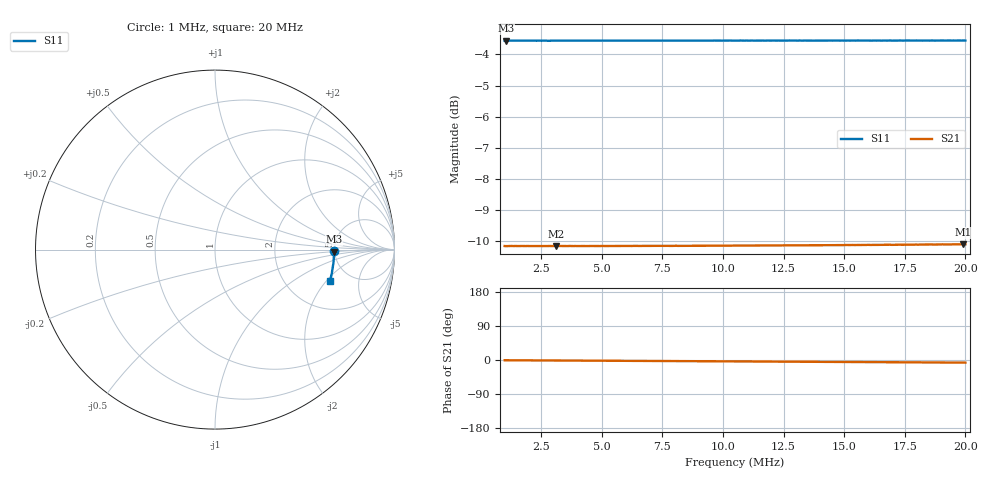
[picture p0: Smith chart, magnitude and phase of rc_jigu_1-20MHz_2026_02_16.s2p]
# HZ S RI R 50
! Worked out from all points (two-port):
!   401 points, 1 MHz to 20 MHz, reference 50 ohm
!   highest |S21| = -10.09 dB at 19.91 MHz (marker M1); lowest = -10.2 dB at 3.138 MHz (marker M2)
!   |S21| within 3 dB of the highest: start of sweep to end of sweep
!   lowest |S11| = -3.6 dB at 1.048 MHz (marker M3), VSWR 4.94, Z = 247 - j9.34 ohm
!   |S11| at or under -10 dB: nowhere
!   S12 and S22 are empty: the file has one direction only
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1000000  0.6636 -0.0103  0.3108 -0.00352  0 0  0 0
1047500  0.6634 -0.0106  0.3106 -0.00359  0 0  0 0
1095000  0.6636 -0.011  0.3107 -0.00363  0 0  0 0
1332500  0.6636 -0.0132  0.3107 -0.00396  0 0  0 0
1760000  0.6635 -0.017  0.3107 -0.00461  0 0  0 0
3137500  0.6631 -0.0292  0.3106 -0.00689  0 0  0 0
3422500  0.6629 -0.0315  0.3107 -0.00727  0 0  0 0
4182500  0.6628 -0.0383  0.3107 -0.00868  0 0  0 0
5607500  0.6617 -0.0506  0.3107 -0.0111  0 0  0 0
7365000  0.6605 -0.0661  0.3107 -0.0142  0 0  0 0
8885000  0.659 -0.0795  0.3106 -0.017  0 0  0 0
1.05e7  0.6574 -0.0937  0.3107 -0.02  0 0  0 0
1.126e7  0.6561 -0.1005  0.3106 -0.0214  0 0  0 0
1.278e7  0.6542 -0.1137  0.3106 -0.0242  0 0  0 0
1.36825e7  0.6526 -0.1215  0.3106 -0.0259  0 0  0 0
1.46325e7  0.6513 -0.1296  0.3107 -0.0276  0 0  0 0
1.544e7  0.6497 -0.1366  0.3106 -0.0291  0 0  0 0
1.6865e7  0.6472 -0.1491  0.3107 -0.032  0 0  0 0
1.8575e7  0.6436 -0.1636  0.3106 -0.035  0 0  0 0
1.89075e7  0.6428 -0.1666  0.3105 -0.0357  0 0  0 0
1.9905e7  0.6407 -0.175  0.3106 -0.0376  0 0  0 0
2e7  0.6402 -0.1759  0.3105 -0.0377  0 0  0 0
